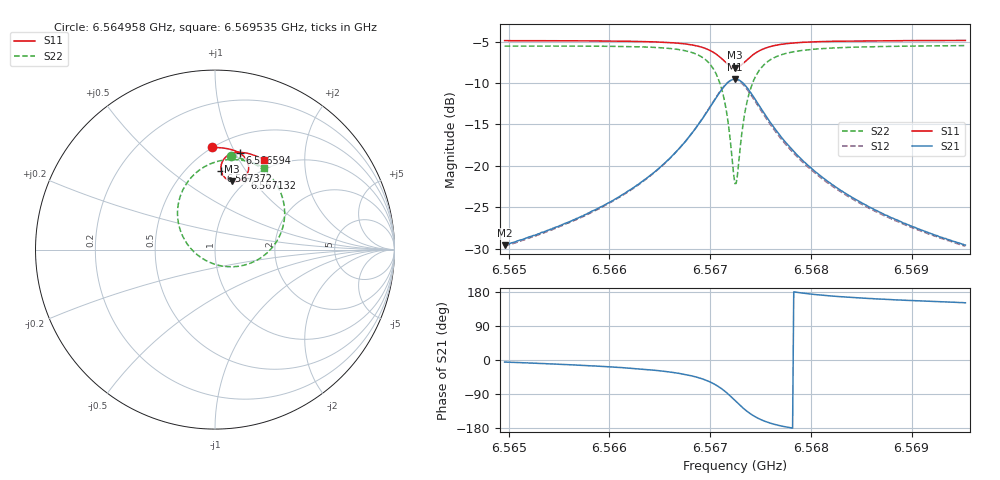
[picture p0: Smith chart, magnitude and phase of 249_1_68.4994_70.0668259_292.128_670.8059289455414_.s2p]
#  HZ  S  RI  R  50.00
! Rohde & Schwarz Vector Network Analyzer
! Rohde-Schwarz,ZNB20-2Port,1311601062101988,3.16
! Created: UTC 3/20/2024, 5:14:52 PM
! freq[Hz]  re:S11  im:S11  re:S21  im:S21  re:S12  im:S12  re:S22  im:S22
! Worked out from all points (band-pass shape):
!   401 points, 6.564958 GHz to 6.569535 GHz, reference 50 ohm
!   highest |S21| = -9.53 dB at 6.567246 GHz (marker M1); lowest = -29.6 dB at 6.564958 GHz (marker M2)
!   |S21| within 3 dB of the highest: 6.567019 GHz to 6.567476 GHz (457 kHz wide, 0.00696 % of centre)
!   lowest |S11| = -8.2 dB at 6.567246 GHz (marker M3), VSWR 2.28, Z = 43.8 + j39.3 ohm
!   |S11| at or under -10 dB: nowhere
!   |S22| runs from -22.2 to -5.5 dB; largest |S21 - S12| = 0.017
!   S11 on the Smith chart (normalised r, x): 6.564958 GHz: 0.50, +0.84; 6.566594 GHz: 0.67, +1.04; 6.567132 GHz: 0.95, +0.93; 6.567372 GHz: 0.72, +0.78; 6.569535 GHz: 0.87, +1.29
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6.5649583e9  -0.0159 0.5689  0.033 -0.00322  0.0325 -0.00364  0.088 0.5199
6.5657248e9  0.0495 0.5654  0.0482 -0.0121  0.0474 -0.0127  0.1679 0.4998
6.5661596e9  0.0906 0.5572  0.0644 -0.0242  0.0633 -0.0251  0.2271 0.4729
6.5664914e9  0.1272 0.5435  0.0852 -0.0458  0.0839 -0.0469  0.2879 0.4288
6.5665943e9  0.1399 0.5363  0.0939 -0.0576  0.0928 -0.059  0.3112 0.4051
6.5668003e9  0.1675 0.5119  0.115 -0.0996  0.1132 -0.1018  0.3632 0.3234
6.5669605e9  0.1859 0.4733  0.1234 -0.1675  0.12 -0.1714  0.3881 0.1927
6.5670634e9  0.184 0.4324  0.1016 -0.2392  0.0945 -0.2441  0.3496 0.0559
6.5671321e9  0.1649 0.4009  0.054 -0.2928  0.0425 -0.2966  0.2595 -0.0428
6.5671778e9  0.1408 0.3843  0.00166 -0.3191  -0.013 -0.3196  0.161 -0.0871
6.5672236e9  0.1093 0.378  -0.0633 -0.3257  -0.0792 -0.321  0.0423 -0.0921
6.5672465e9  0.0926 0.38  -0.0969 -0.3192  -0.1122 -0.3117  -0.0173 -0.0761
6.5672694e9  0.0768 0.3856  -0.1284 -0.3063  -0.1425 -0.2961  -0.0717 -0.0485
6.5673266e9  0.0466 0.4117  -0.189 -0.2527  -0.1973 -0.2383  -0.1699 0.0552
6.5673723e9  0.0352 0.4378  -0.2134 -0.2011  -0.2168 -0.1864  -0.204 0.1492
6.5674639e9  0.0381 0.4834  -0.2146 -0.1133  -0.2125 -0.1021  -0.1916 0.3023
6.5676012e9  0.0661 0.5208  -0.1767 -0.0409  -0.1727 -0.0348  -0.1111 0.4234
6.5677613e9  0.0986 0.5373  -0.1358 -0.00696  -0.1322 -0.00367  -0.0267 0.4776
6.568013e9  0.1377 0.5422  -0.0951 0.0106  -0.0926 0.0122  0.0619 0.5005
6.5683563e9  0.1775 0.5371  -0.0654 0.0163  -0.0638 0.017  0.1361 0.4998
6.5687796e9  0.2166 0.5258  -0.0462 0.0172  -0.0452 0.0176  0.1967 0.4873
6.5695347e9  0.2757 0.4996  -0.0291 0.0161  -0.0285 0.0162  0.2718 0.4566
